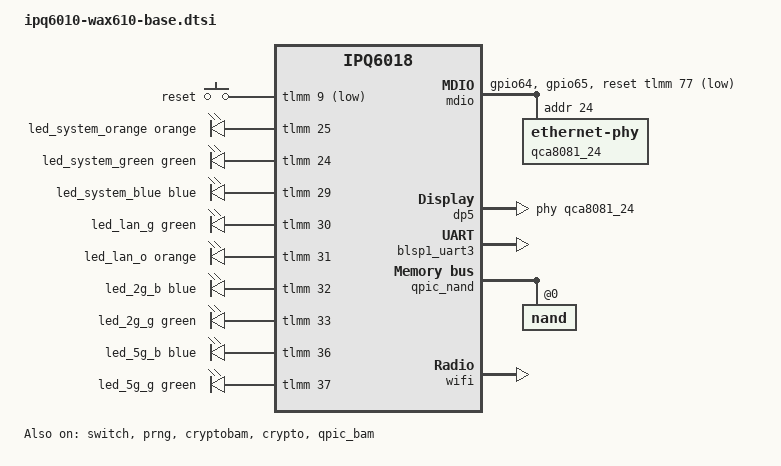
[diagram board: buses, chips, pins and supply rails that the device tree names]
#include "ipq6018.dtsi"
#include "ipq6018-cp-cpu.dtsi"
#include "ipq6018-ess.dtsi"
#include <dt-bindings/gpio/gpio.h>
#include <dt-bindings/input/input.h>
#include <dt-bindings/leds/common.h>

/ {
	aliases {
		serial0 = &blsp1_uart3;
		ethernet0 = &dp5;
		label-mac-device = &dp5;

		led-boot = &led_system_blue;
		led-failsafe = &led_system_orange;
		led-running = &led_system_green;
		led-upgrade = &led_system_blue;
	};

	chosen {
		stdout-path = "serial0:115200n8";
		/*
		 * Netgear's U-Boot adds "ubi.mtd=rootfs root=mtd:ubi_rootfs"
		 * That fails to create a UBI block device, so add it here.
		*/
		bootargs-append = " root=/dev/ubiblock0_1";
	};

	keys {
		compatible = "gpio-keys";

		reset {
			label = "reset";
			gpios = <&tlmm 9 GPIO_ACTIVE_LOW>;
			linux,code = <KEY_RESTART>;
			debounce-interval = <60>;
		};
	};

	leds {
		compatible = "gpio-leds";

		led_system_orange: system-orange {
			color = <LED_COLOR_ID_ORANGE>;
			function = LED_FUNCTION_POWER;
			function-enumerator = <0>;
			gpios = <&tlmm 25 GPIO_ACTIVE_HIGH>;
		};

		led_system_green: system-green {
			color = <LED_COLOR_ID_GREEN>;
			function = LED_FUNCTION_POWER;
			function-enumerator = <1>;
			gpios = <&tlmm 24 GPIO_ACTIVE_HIGH>;
		};

		led_system_blue: system-blue {
			color = <LED_COLOR_ID_BLUE>;
			function = LED_FUNCTION_POWER;
			function-enumerator = <2>;
			gpios = <&tlmm 29 GPIO_ACTIVE_HIGH>;
		};

		led_lan_g {
			color = <LED_COLOR_ID_GREEN>;
			function = LED_FUNCTION_LAN;
			function-enumerator = <0>;
			gpios = <&tlmm 30 GPIO_ACTIVE_HIGH>;
		};

		led_lan_o {
			color = <LED_COLOR_ID_ORANGE>;
			function = LED_FUNCTION_LAN;
			function-enumerator = <1>;
			gpios = <&tlmm 31 GPIO_ACTIVE_HIGH>;
		};

		led_2g_b {
			color = <LED_COLOR_ID_BLUE>;
			function = LED_FUNCTION_WLAN;
			function-enumerator = <0>;
			gpios = <&tlmm 32 GPIO_ACTIVE_HIGH>;
			linux,default-trigger = "phy1radio";
		};

		led_2g_g {
			color = <LED_COLOR_ID_GREEN>;
			function = LED_FUNCTION_WLAN;
			function-enumerator = <1>;
			gpios = <&tlmm 33 GPIO_ACTIVE_HIGH>;
		};

		led_5g_b {
			color = <LED_COLOR_ID_BLUE>;
			function = LED_FUNCTION_WLAN;
			function-enumerator = <2>;
			gpios = <&tlmm 36 GPIO_ACTIVE_HIGH>;
			linux,default-trigger = "phy0radio";
		};

		led_5g_g {
			color = <LED_COLOR_ID_GREEN>;
			function = LED_FUNCTION_WLAN;
			function-enumerator = <3>;
			gpios = <&tlmm 37 GPIO_ACTIVE_HIGH>;
		};
	};
};

&edma {
	status = "okay";
};

&switch {
	status = "okay";

	switch_lan_bmp = <ESS_PORT5>;
	switch_mac_mode1 = <MAC_MODE_SGMII_PLUS>;

	qcom,port_phyinfo {
		port@5 {
			port_id = <5>;
			phy_address = <24>;
			port_mac_sel = "QGMAC_PORT";
		};
	};
};

&tlmm {
	mdio_pins: mdio-pins {
		mdc {
			pins = "gpio64";
			function = "mdc";
			drive-strength = <8>;
			bias-pull-up;
		};

		mdio {
			pins = "gpio65";
			function = "mdio";
			drive-strength = <8>;
			bias-pull-up;
		};
	};
};

&mdio {
	status = "okay";

	pinctrl-0 = <&mdio_pins>;
	pinctrl-names = "default";
	reset-gpios = <&tlmm 77 GPIO_ACTIVE_LOW>;

	qca8081_24: ethernet-phy@24 {
		reg = <24>;
	};
};

&dp5 {
	status = "okay";
	phy-handle = <&qca8081_24>;
	label = "lan";
};

&blsp1_uart3 {
	pinctrl-0 = <&serial_3_pins>;
	pinctrl-names = "default";
	status = "okay";
};

&prng {
	status = "okay";
};

&cryptobam {
	status = "okay";
};

&crypto {
	status = "okay";
};

&qpic_bam {
	status = "okay";
};

&qpic_nand {
	status = "okay";

	nand@0 {
		reg = <0>;
		nand-ecc-strength = <4>;
		nand-ecc-step-size = <512>;
		nand-bus-width = <8>;

		partitions {
			compatible = "qcom,smem-part";
		};
	};
};

&wifi {
	status = "okay";

	qcom,m3-dump-addr = <0x50100000>;
};
